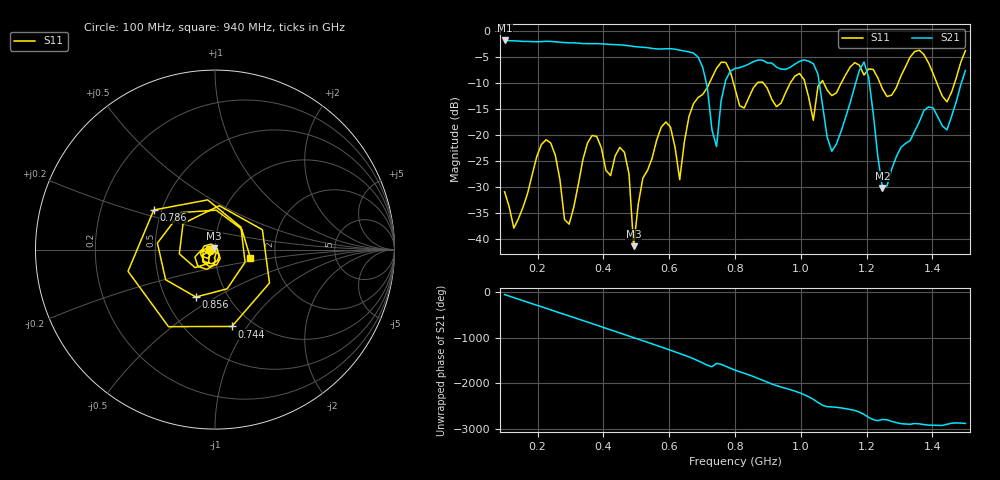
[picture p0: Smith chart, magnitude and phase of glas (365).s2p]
! NanoVNA-App
! Date: 2025-09-25 15:58:19
! Start: 100MHz Stop: 1,5GHz Points: 101
! S-Parameter data: F S11 S21 S12 S22
# Hz S RI R 50
!  Frequency  S11_Real  S11_Imag  S21_Real  S21_Imag  S12_Real  S12_Imag  S22_Real  S22_Imag
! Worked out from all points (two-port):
!   101 points, 100 MHz to 1.5 GHz, reference 50 ohm
!   highest |S21| = -1.80 dB at 100 MHz (marker M1); lowest = -30.2 dB at 1.248 GHz (marker M2)
!   |S21| within 3 dB of the highest: start of sweep to 684.2 MHz
!   lowest |S11| = -41.4 dB at 492 MHz (marker M3), VSWR 1.02, Z = 49.5 + j0.645 ohm
!   |S11| at or under -10 dB: start of sweep to 722.4 MHz; 795.4 MHz to 867.9 MHz (72.45 MHz wide, 8.71 % of centre); 886.2 MHz to 967.8 MHz (81.61 MHz wide, 8.8 % of centre) (the widest 3 of 7)
!   S12 and S22 are empty: the file has one direction only
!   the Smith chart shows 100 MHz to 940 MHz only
!   S11 on the Smith chart (normalised r, x): 100 MHz: 0.95, -0.01; 744 MHz: 0.80, -0.85; 786 MHz: 0.45, +0.24; 856 MHz: 0.71, -0.41; 940 MHz: 1.48, -0.14
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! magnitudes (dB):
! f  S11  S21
! 100 MHz  -30.9  -1.8
! 128 MHz  -37.9  -1.9
! 226 MHz  -20.9  -2.0
! 296 MHz  -37.2  -2.2
! 338 MHz  -24.7  -2.4
! 464 MHz  -23.3  -2.7
! 492 MHz  -41.4  -3.0
! 576 MHz  -18.5  -3.5
! 632 MHz  -28.6  -3.7
! 702 MHz  -12.2  -7.0
! 744 MHz  -7.2  -22.2
! 786 MHz  -7.8  -7.7
! 800 MHz  -11.1  -7.2
! 856 MHz  -10.9  -5.9
! 940 MHz  -13.9  -7.3
! 1.038 GHz  -17.2  -6.3
! 1.094 GHz  -12.4  -23.1
! 1.192 GHz  -8.5  -6.0
! 1.248 GHz  -11.1  -30.2
! 1.276 GHz  -12.3  -26.6
! 1.444 GHz  -13.6  -19.0
! 1.5 GHz  -3.8  -7.6
